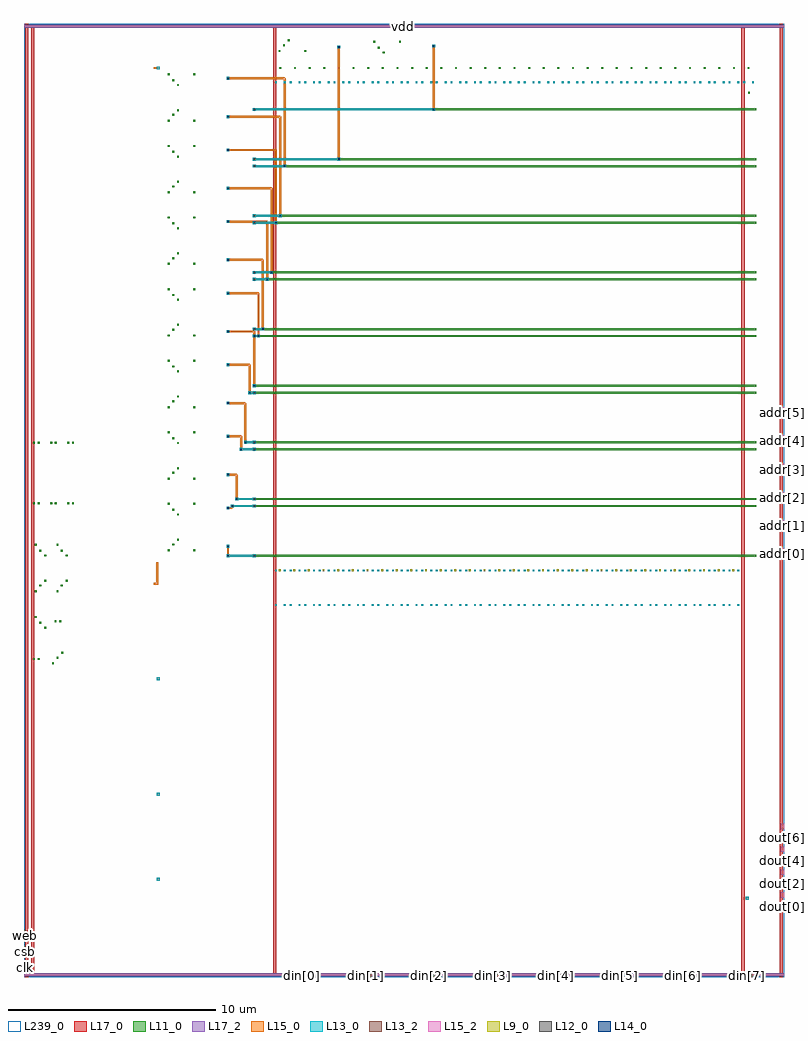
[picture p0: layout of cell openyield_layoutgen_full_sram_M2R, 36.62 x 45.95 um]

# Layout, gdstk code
import gdstk
lib = gdstk.Library(unit=1e-6, precision=5e-10)
def R(c, l, rs):  # rectangles x0, y0, x1, y1
    for r in rs: c.add(gdstk.rectangle(r[:2], r[2:], *l))
def A(c, l, x, y, w, h, nx, ny, dx, dy):  # array of equal rectangles
    R(c, l, [(x+i*dx, y+j*dy, x+i*dx+w, y+j*dy+h) for i in range(nx) for j in range(ny)])
L9_0 = (9, 0)
L11_0 = (11, 0)
L12_0 = (12, 0)
L13_0 = (13, 0)
L13_2 = (13, 2)
L14_0 = (14, 0)
L15_0 = (15, 0)
L15_2 = (15, 2)
L17_0 = (17, 0)
L17_2 = (17, 2)
L239_0 = (239, 0)

openyield_layoutgen_full = lib.new_cell('openyield_layoutgen_full_sram_M2R')
A(openyield_layoutgen_full, L9_0, 12.275, 19.575, 0.09, 0.09, 32, 1, 0.705, 0)
A(openyield_layoutgen_full, L11_0, 12.31, 43.77, 0.09, 0.09, 33, 1, 0.705, 0)
R(openyield_layoutgen_full, L11_0, [(1.3525,15.08,1.4425,15.17), (0.4375,15.29,0.5275,15.38), (0.67,15.29,0.76,15.38), (1.5675,15.36,1.6575,15.45), (1.805,15.5925,1.895,15.6825), (0.9825,16.8025,1.0725,16.8925), (0.745,17.035,0.835,17.125), (1.475,17.105,1.565,17.195), (1.7075,17.105,1.7975,17.195), (0.53,17.315,0.62,17.405), (0.53,18.555,0.62,18.645), (1.5675,18.555,1.6575,18.645), (0.745,18.835,0.835,18.925), (1.7825,18.835,1.8725,18.925), (0.9825,19.0675,1.0725,19.1575), (2.02,19.0675,2.11,19.1575), (11.0325,20.2475,11.1675,20.3825), (11.1,20.27,35.28,20.36), (0.9825,20.2775,1.0725,20.3675), (2.02,20.2775,2.11,20.3675), (0.745,20.51,0.835,20.6), (1.7825,20.51,1.8725,20.6), (6.925,20.53,7.015,20.62), (8.1625,20.53,8.2525,20.62), (9.7625,20.7025,9.8975,20.8375), (9.785,20.725,9.875,20.815), (0.53,20.79,0.62,20.88), (1.5675,20.79,1.6575,20.88), (7.14,20.81,7.23,20.9), (7.3775,21.0425,7.4675,21.1325), (7.3775,22.2525,7.4675,22.3425), (7.14,22.485,7.23,22.575), (9.7625,22.5475,9.8975,22.6825), (9.785,22.57,9.875,22.66), (11.0325,22.6425,11.1675,22.7775), (11.1,22.665,35.28,22.755), (6.925,22.765,7.015,22.855), (8.1625,22.765,8.2525,22.855), (0.4375,22.7925,0.5275,22.8825), (0.67,22.7925,0.76,22.8825), (1.26,22.7925,1.35,22.8825), (1.4925,22.7925,1.5825,22.8825), (2.0825,22.7925,2.1725,22.8825), (2.315,22.7925,2.405,22.8825), (11.0325,22.9775,11.1675,23.1125), (11.1,23,35.28,23.09), (6.925,23.98,7.015,24.07), (8.1625,23.98,8.2525,24.07), (9.7625,24.1525,9.8975,24.2875), (9.785,24.175,9.875,24.265), (7.14,24.26,7.23,24.35), (7.3775,24.4925,7.4675,24.5825), (11.0325,25.3725,11.1675,25.5075), (11.1,25.395,35.28,25.485), (7.3775,25.7025,7.4675,25.7925), (11.0325,25.7075,11.1675,25.8425), (0.4375,25.7125,0.5275,25.8025), (0.67,25.7125,0.76,25.8025), (1.26,25.7125,1.35,25.8025), (1.4925,25.7125,1.5825,25.8025), (2.0825,25.7125,2.1725,25.8025), (2.315,25.7125,2.405,25.8025), (11.1,25.73,35.28,25.82), (7.14,25.935,7.23,26.025), (9.7625,25.9975,9.8975,26.1325), (9.785,26.02,9.875,26.11), (6.925,26.215,7.015,26.305), (8.1625,26.215,8.2525,26.305), (6.925,27.43,7.015,27.52), (8.1625,27.43,8.2525,27.52), (9.7625,27.6025,9.8975,27.7375), (9.785,27.625,9.875,27.715), (7.14,27.71,7.23,27.8), (7.3775,27.9425,7.4675,28.0325), (11.0325,28.1025,11.1675,28.2375), (11.1,28.125,35.28,28.215), (11.0325,28.4375,11.1675,28.5725), (11.1,28.46,35.28,28.55), (7.3775,29.1525,7.4675,29.2425), (7.14,29.385,7.23,29.475), (9.7625,29.4475,9.8975,29.5825), (9.785,29.47,9.875,29.56), (6.925,29.665,7.015,29.755), (8.1625,29.665,8.2525,29.755), (11.0325,30.8325,11.1675,30.9675), (11.1,30.855,35.28,30.945), (6.925,30.88,7.015,30.97), (8.1625,30.88,8.2525,30.97), (9.7625,31.0525,9.8975,31.1875), (9.785,31.075,9.875,31.165), (7.14,31.16,7.23,31.25), (11.0325,31.1675,11.1675,31.3025), (11.1,31.19,35.28,31.28), (7.3775,31.3925,7.4675,31.4825), (7.3775,32.6025,7.4675,32.6925), (7.14,32.835,7.23,32.925), (9.7625,32.8975,9.8975,33.0325), (9.785,32.92,9.875,33.01), (6.925,33.115,7.015,33.205), (8.1625,33.115,8.2525,33.205), (11.0325,33.5625,11.1675,33.6975), (11.1,33.585,35.28,33.675), (11.0325,33.8975,11.1675,34.0325), (11.1,33.92,35.28,34.01), (6.925,34.33,7.015,34.42), (8.1625,34.33,8.2525,34.42), (9.7625,34.5025,9.8975,34.6375), (9.785,34.525,9.875,34.615), (7.14,34.61,7.23,34.7), (7.3775,34.8425,7.4675,34.9325), (7.3775,36.0525,7.4675,36.1425), (7.14,36.285,7.23,36.375), (11.0325,36.2925,11.1675,36.4275), (11.1,36.315,35.28,36.405), (9.7625,36.3475,9.8975,36.4825), (9.785,36.37,9.875,36.46), (6.925,36.565,7.015,36.655), (8.1625,36.565,8.2525,36.655), (11.0325,36.6275,11.1675,36.7625), (11.1,36.65,35.28,36.74), (6.925,37.78,7.015,37.87), (8.1625,37.78,8.2525,37.87), (9.7625,37.9525,9.8975,38.0875), (9.785,37.975,9.875,38.065), (7.14,38.06,7.23,38.15), (7.3775,38.2925,7.4675,38.3825), (11.0325,39.0225,11.1675,39.1575), (11.1,39.045,35.28,39.135), (11.0325,39.3575,11.1675,39.4925), (11.1,39.38,35.28,39.47), (7.3775,39.5025,7.4675,39.5925), (7.14,39.735,7.23,39.825), (9.7625,39.7975,9.8975,39.9325), (9.785,39.82,9.875,39.91), (6.925,40.015,7.015,40.105), (8.1625,40.015,8.2525,40.105), (6.925,41.23,7.015,41.32), (8.1625,41.23,8.2525,41.32), (9.7625,41.4025,9.8975,41.5375), (9.785,41.425,9.875,41.515), (7.14,41.51,7.23,41.6), (7.3775,41.7425,7.4675,41.8325), (11.0325,41.7525,11.1675,41.8875), (11.1,41.775,35.28,41.865), (34.89,42.5725,34.98,42.6625), (7.3775,42.9525,7.4675,43.0425), (7.14,43.185,7.23,43.275), (9.7625,43.2475,9.8975,43.3825), (9.785,43.27,9.875,43.36), (6.925,43.465,7.015,43.555), (8.1625,43.465,8.2525,43.555), (17.2875,44.5175,17.3775,44.6075), (12.2675,44.59,12.3575,44.68), (13.505,44.59,13.595,44.68), (17.05,44.75,17.14,44.84), (15.105,44.7625,15.24,44.8975), (15.1275,44.785,15.2175,44.875), (19.6725,44.8125,19.8075,44.9475), (19.695,44.835,19.785,44.925), (12.4825,44.87,12.5725,44.96), (16.835,45.03,16.925,45.12), (18.0725,45.03,18.1625,45.12), (12.72,45.1025,12.81,45.1925)])
R(openyield_layoutgen_full, L12_0, [(11.0675,20.2825,11.1325,20.3475), (9.7975,20.7375,9.8625,20.8025), (9.7975,22.5825,9.8625,22.6475), (11.0675,22.6775,11.1325,22.7425), (11.0675,23.0125,11.1325,23.0775), (9.7975,24.1875,9.8625,24.2525), (11.0675,25.4075,11.1325,25.4725), (11.0675,25.7425,11.1325,25.8075), (9.7975,26.0325,9.8625,26.0975), (9.7975,27.6375,9.8625,27.7025), (11.0675,28.1375,11.1325,28.2025), (11.0675,28.4725,11.1325,28.5375), (9.7975,29.4825,9.8625,29.5475), (11.0675,30.8675,11.1325,30.9325), (9.7975,31.0875,9.8625,31.1525), (11.0675,31.2025,11.1325,31.2675), (9.7975,32.9325,9.8625,32.9975), (11.0675,33.5975,11.1325,33.6625), (11.0675,33.9325,11.1325,33.9975), (9.7975,34.5375,9.8625,34.6025), (11.0675,36.3275,11.1325,36.3925), (9.7975,36.3825,9.8625,36.4475), (11.0675,36.6625,11.1325,36.7275), (9.7975,37.9875,9.8625,38.0525), (11.0675,39.0575,11.1325,39.1225), (11.0675,39.3925,11.1325,39.4575), (9.7975,39.8325,9.8625,39.8975), (9.7975,41.4375,9.8625,41.5025), (11.0675,41.7875,11.1325,41.8525), (9.7975,43.2825,9.8625,43.3475), (15.14,44.7975,15.205,44.8625), (19.7075,44.8475,19.7725,44.9125)])
A(openyield_layoutgen_full, L13_0, 13.18, 0, 0.5, 0.16, 8, 1, 3.06, 0)
A(openyield_layoutgen_full, L13_0, 0, 0.2425, 0.16, 0.5, 1, 3, 0, 0.75)
A(openyield_layoutgen_full, L13_0, 0.16, 0.4575, 0.1825, 0.07, 1, 3, 0, 0.75)
R(openyield_layoutgen_full, L13_0, [(34.7825,3.74,34.9175,3.875), (6.395,4.6525,6.53,4.7875), (6.395,8.7575,6.53,8.8925), (6.395,14.325,6.53,14.46), (12.0975,17.8975,12.1875,17.9875), (12.5225,17.8975,12.6125,17.9875), (12.8025,17.8975,12.8925,17.9875), (13.2275,17.8975,13.3175,17.9875), (13.5075,17.8975,13.5975,17.9875), (13.9325,17.8975,14.0225,17.9875), (14.2125,17.8975,14.3025,17.9875), (14.6375,17.8975,14.7275,17.9875), (14.9175,17.8975,15.0075,17.9875), (15.3425,17.8975,15.4325,17.9875), (15.6225,17.8975,15.7125,17.9875), (16.0475,17.8975,16.1375,17.9875), (16.3275,17.8975,16.4175,17.9875), (16.7525,17.8975,16.8425,17.9875), (17.0325,17.8975,17.1225,17.9875), (17.4575,17.8975,17.5475,17.9875), (17.7375,17.8975,17.8275,17.9875), (18.1625,17.8975,18.2525,17.9875), (18.4425,17.8975,18.5325,17.9875), (18.8675,17.8975,18.9575,17.9875), (19.1475,17.8975,19.2375,17.9875), (19.5725,17.8975,19.6625,17.9875), (19.8525,17.8975,19.9425,17.9875), (20.2775,17.8975,20.3675,17.9875), (20.5575,17.8975,20.6475,17.9875), (20.9825,17.8975,21.0725,17.9875), (21.2625,17.8975,21.3525,17.9875), (21.6875,17.8975,21.7775,17.9875), (21.9675,17.8975,22.0575,17.9875), (22.3925,17.8975,22.4825,17.9875), (22.6725,17.8975,22.7625,17.9875), (23.0975,17.8975,23.1875,17.9875), (23.3775,17.8975,23.4675,17.9875), (23.8025,17.8975,23.8925,17.9875), (24.0825,17.8975,24.1725,17.9875), (24.5075,17.8975,24.5975,17.9875), (24.7875,17.8975,24.8775,17.9875), (25.2125,17.8975,25.3025,17.9875), (25.4925,17.8975,25.5825,17.9875), (25.9175,17.8975,26.0075,17.9875), (26.1975,17.8975,26.2875,17.9875), (26.6225,17.8975,26.7125,17.9875), (26.9025,17.8975,26.9925,17.9875), (27.3275,17.8975,27.4175,17.9875), (27.6075,17.8975,27.6975,17.9875), (28.0325,17.8975,28.1225,17.9875), (28.3125,17.8975,28.4025,17.9875), (28.7375,17.8975,28.8275,17.9875), (29.0175,17.8975,29.1075,17.9875), (29.4425,17.8975,29.5325,17.9875), (29.7225,17.8975,29.8125,17.9875), (30.1475,17.8975,30.2375,17.9875), (30.4275,17.8975,30.5175,17.9875), (30.8525,17.8975,30.9425,17.9875), (31.1325,17.8975,31.2225,17.9875), (31.5575,17.8975,31.6475,17.9875), (31.8375,17.8975,31.9275,17.9875), (32.2625,17.8975,32.3525,17.9875), (32.5425,17.8975,32.6325,17.9875), (32.9675,17.8975,33.0575,17.9875), (33.2475,17.8975,33.3375,17.9875), (33.6725,17.8975,33.7625,17.9875), (33.9525,17.8975,34.0425,17.9875), (34.3775,17.8975,34.4675,17.9875), (12.0975,19.5575,12.1875,19.6475), (12.5225,19.5575,12.6125,19.6475), (12.8025,19.5575,12.8925,19.6475), (13.2275,19.5575,13.3175,19.6475), (13.5075,19.5575,13.5975,19.6475), (13.9325,19.5575,14.0225,19.6475), (14.2125,19.5575,14.3025,19.6475), (14.6375,19.5575,14.7275,19.6475), (14.9175,19.5575,15.0075,19.6475), (15.3425,19.5575,15.4325,19.6475), (15.6225,19.5575,15.7125,19.6475), (16.0475,19.5575,16.1375,19.6475), (16.3275,19.5575,16.4175,19.6475), (16.7525,19.5575,16.8425,19.6475), (17.0325,19.5575,17.1225,19.6475), (17.4575,19.5575,17.5475,19.6475), (17.7375,19.5575,17.8275,19.6475), (18.1625,19.5575,18.2525,19.6475), (18.4425,19.5575,18.5325,19.6475), (18.8675,19.5575,18.9575,19.6475), (19.1475,19.5575,19.2375,19.6475), (19.5725,19.5575,19.6625,19.6475), (19.8525,19.5575,19.9425,19.6475), (20.2775,19.5575,20.3675,19.6475), (20.5575,19.5575,20.6475,19.6475), (20.9825,19.5575,21.0725,19.6475), (21.2625,19.5575,21.3525,19.6475), (21.6875,19.5575,21.7775,19.6475), (21.9675,19.5575,22.0575,19.6475), (22.3925,19.5575,22.4825,19.6475), (22.6725,19.5575,22.7625,19.6475), (23.0975,19.5575,23.1875,19.6475), (23.3775,19.5575,23.4675,19.6475), (23.8025,19.5575,23.8925,19.6475), (24.0825,19.5575,24.1725,19.6475), (24.5075,19.5575,24.5975,19.6475), (24.7875,19.5575,24.8775,19.6475), (25.2125,19.5575,25.3025,19.6475), (25.4925,19.5575,25.5825,19.6475), (25.9175,19.5575,26.0075,19.6475), (26.1975,19.5575,26.2875,19.6475), (26.6225,19.5575,26.7125,19.6475), (26.9025,19.5575,26.9925,19.6475), (27.3275,19.5575,27.4175,19.6475), (27.6075,19.5575,27.6975,19.6475), (28.0325,19.5575,28.1225,19.6475), (28.3125,19.5575,28.4025,19.6475), (28.7375,19.5575,28.8275,19.6475), (29.0175,19.5575,29.1075,19.6475), (29.4425,19.5575,29.5325,19.6475), (29.7225,19.5575,29.8125,19.6475), (30.1475,19.5575,30.2375,19.6475), (30.4275,19.5575,30.5175,19.6475), (30.8525,19.5575,30.9425,19.6475), (31.1325,19.5575,31.2225,19.6475), (31.5575,19.5575,31.6475,19.6475), (31.8375,19.5575,31.9275,19.6475), (32.2625,19.5575,32.3525,19.6475), (32.5425,19.5575,32.6325,19.6475), (32.9675,19.5575,33.0575,19.6475), (33.2475,19.5575,33.3375,19.6475), (33.6725,19.5575,33.7625,19.6475), (33.9525,19.5575,34.0425,19.6475), (34.3775,19.5575,34.4675,19.6475), (9.7625,20.2475,9.8975,20.3825), (11.0325,20.2475,11.1675,20.3825), (9.83,20.27,11.1,20.36), (9.7625,20.7025,9.8975,20.8375), (9.7625,22.5475,9.8975,22.6825), (9.9725,22.6425,10.1075,22.7775), (11.0325,22.6425,11.1675,22.7775), (10.04,22.665,11.1,22.755), (10.1825,22.9775,10.3175,23.1125), (11.0325,22.9775,11.1675,23.1125), (10.25,23,11.1,23.09), (9.7625,24.1525,9.8975,24.2875), (10.3925,25.3725,10.5275,25.5075), (11.0325,25.3725,11.1675,25.5075), (10.46,25.395,11.1,25.485), (10.6025,25.7075,10.7375,25.8425), (11.0325,25.7075,11.1675,25.8425), (10.67,25.73,11.1,25.82), (9.7625,25.9975,9.8975,26.1325), (9.7625,27.6025,9.8975,27.7375), (10.8125,28.1025,10.9475,28.2375), (11.0325,28.1025,11.1675,28.2375), (10.88,28.125,11.1,28.215), (11.0225,28.4375,11.1675,28.5725), (11.05,28.46,11.14,28.55), (9.7625,29.4475,9.8975,29.5825), (11.0325,30.8325,11.1675,30.9675), (11.2325,30.8325,11.3675,30.9675), (11.1,30.855,11.3,30.945), (9.7625,31.0525,9.8975,31.1875), (11.0325,31.1675,11.1675,31.3025), (11.4425,31.1675,11.5775,31.3025), (11.1,31.19,11.51,31.28), (9.7625,32.8975,9.8975,33.0325), (11.0325,33.5625,11.1675,33.6975), (11.6525,33.5625,11.7875,33.6975), (11.1,33.585,11.72,33.675), (11.0325,33.8975,11.1675,34.0325), (11.8625,33.8975,11.9975,34.0325), (11.1,33.92,11.93,34.01), (9.7625,34.5025,9.8975,34.6375), (11.0325,36.2925,11.1675,36.4275), (12.0725,36.2925,12.2075,36.4275), (11.1,36.315,12.14,36.405), (9.7625,36.3475,9.8975,36.4825), (11.0325,36.6275,11.1675,36.7625), (12.2825,36.6275,12.4175,36.7625), (11.1,36.65,12.35,36.74), (9.7625,37.9525,9.8975,38.0875), (11.0325,39.0225,11.1675,39.1575), (12.4925,39.0225,12.6275,39.1575), (11.1,39.045,12.56,39.135), (11.0325,39.3575,11.1675,39.4925), (15.105,39.3575,15.24,39.4925), (11.1,39.38,15.1725,39.47), (9.7625,39.7975,9.8975,39.9325), (9.7625,41.4025,9.8975,41.5375), (11.0325,41.7525,11.1675,41.8875), (19.6725,41.7525,19.8075,41.8875), (11.1,41.775,19.74,41.865), (12.0975,43.0875,12.1875,43.1775), (12.5225,43.0875,12.6125,43.1775), (12.8025,43.0875,12.8925,43.1775), (13.2275,43.0875,13.3175,43.1775), (13.5075,43.0875,13.5975,43.1775), (13.9325,43.0875,14.0225,43.1775), (14.2125,43.0875,14.3025,43.1775), (14.6375,43.0875,14.7275,43.1775), (14.9175,43.0875,15.0075,43.1775), (15.3425,43.0875,15.4325,43.1775), (15.6225,43.0875,15.7125,43.1775), (16.0475,43.0875,16.1375,43.1775), (16.3275,43.0875,16.4175,43.1775), (16.7525,43.0875,16.8425,43.1775), (17.0325,43.0875,17.1225,43.1775), (17.4575,43.0875,17.5475,43.1775), (17.7375,43.0875,17.8275,43.1775), (18.1625,43.0875,18.2525,43.1775), (18.4425,43.0875,18.5325,43.1775), (18.8675,43.0875,18.9575,43.1775), (19.1475,43.0875,19.2375,43.1775), (19.5725,43.0875,19.6625,43.1775), (19.8525,43.0875,19.9425,43.1775), (20.2775,43.0875,20.3675,43.1775), (20.5575,43.0875,20.6475,43.1775), (20.9825,43.0875,21.0725,43.1775), (21.2625,43.0875,21.3525,43.1775), (21.6875,43.0875,21.7775,43.1775), (21.9675,43.0875,22.0575,43.1775), (22.3925,43.0875,22.4825,43.1775), (22.6725,43.0875,22.7625,43.1775), (23.0975,43.0875,23.1875,43.1775), (23.3775,43.0875,23.4675,43.1775), (23.8025,43.0875,23.8925,43.1775), (24.0825,43.0875,24.1725,43.1775), (24.5075,43.0875,24.5975,43.1775), (24.7875,43.0875,24.8775,43.1775), (25.2125,43.0875,25.3025,43.1775), (25.4925,43.0875,25.5825,43.1775), (25.9175,43.0875,26.0075,43.1775), (26.1975,43.0875,26.2875,43.1775), (26.6225,43.0875,26.7125,43.1775), (26.9025,43.0875,26.9925,43.1775), (27.3275,43.0875,27.4175,43.1775), (27.6075,43.0875,27.6975,43.1775), (28.0325,43.0875,28.1225,43.1775), (28.3125,43.0875,28.4025,43.1775), (28.7375,43.0875,28.8275,43.1775), (29.0175,43.0875,29.1075,43.1775), (29.4425,43.0875,29.5325,43.1775), (29.7225,43.0875,29.8125,43.1775), (30.1475,43.0875,30.2375,43.1775), (30.4275,43.0875,30.5175,43.1775), (30.8525,43.0875,30.9425,43.1775), (31.1325,43.0875,31.2225,43.1775), (31.5575,43.0875,31.6475,43.1775), (31.8375,43.0875,31.9275,43.1775), (32.2625,43.0875,32.3525,43.1775), (32.5425,43.0875,32.6325,43.1775), (32.9675,43.0875,33.0575,43.1775), (33.2475,43.0875,33.3375,43.1775), (33.6725,43.0875,33.7625,43.1775), (33.9525,43.0875,34.0425,43.1775), (34.3775,43.0875,34.4675,43.1775), (34.6575,43.0875,34.7475,43.1775), (35.0825,43.0875,35.1725,43.1775), (9.7625,43.2475,9.8975,43.3825), (6.395,43.7475,6.53,43.8825), (15.105,44.7625,15.24,44.8975), (19.6725,44.8125,19.8075,44.9475)])
A(openyield_layoutgen_full, L13_2, 13.18, 0, 0.5, 0.16, 8, 1, 3.06, 0)
A(openyield_layoutgen_full, L13_2, 0, 0.2425, 0.16, 0.5, 1, 3, 0, 0.75)
R(openyield_layoutgen_full, L14_0, [(9.7975,20.2825,9.8625,20.3475), (9.7975,20.7375,9.8625,20.8025), (9.7975,22.5825,9.8625,22.6475), (10.0075,22.6775,10.0725,22.7425), (10.2175,23.0125,10.2825,23.0775), (9.7975,24.1875,9.8625,24.2525), (10.4275,25.4075,10.4925,25.4725), (10.6375,25.7425,10.7025,25.8075), (9.7975,26.0325,9.8625,26.0975), (9.7975,27.6375,9.8625,27.7025), (10.8475,28.1375,10.9125,28.2025), (11.0575,28.4725,11.1225,28.5375), (9.7975,29.4825,9.8625,29.5475), (11.2675,30.8675,11.3325,30.9325), (9.7975,31.0875,9.8625,31.1525), (11.4775,31.2025,11.5425,31.2675), (9.7975,32.9325,9.8625,32.9975), (11.6875,33.5975,11.7525,33.6625), (11.8975,33.9325,11.9625,33.9975), (9.7975,34.5375,9.8625,34.6025), (12.1075,36.3275,12.1725,36.3925), (9.7975,36.3825,9.8625,36.4475), (12.3175,36.6625,12.3825,36.7275), (9.7975,37.9875,9.8625,38.0525), (12.5275,39.0575,12.5925,39.1225), (15.14,39.3925,15.205,39.4575), (9.7975,39.8325,9.8625,39.8975), (9.7975,41.4375,9.8625,41.5025), (19.7075,41.7875,19.7725,41.8525), (9.7975,43.2825,9.8625,43.3475), (15.14,44.7975,15.205,44.8625), (19.7075,44.8475,19.7725,44.9125)])
A(openyield_layoutgen_full, L15_0, 36.4625, 3.2875, 0.16, 0.25, 1, 8, 0, 0.55)
A(openyield_layoutgen_full, L15_0, 36.4625, 20.1475, 0.16, 0.5, 1, 6, 0, 1.365)
R(openyield_layoutgen_full, L15_0, [(34.7825,3.74,34.9175,3.875), (6.395,4.6525,6.53,4.7875), (6.395,8.7575,6.53,8.8925), (6.395,14.325,6.53,14.46), (6.2625,18.925,6.4575,19.015), (6.3675,18.925,6.4575,19.9925), (9.7625,20.2475,9.8975,20.3825), (9.785,20.315,9.875,20.77), (9.7625,20.7025,9.8975,20.8375), (9.7625,22.5475,9.8975,22.6825), (9.83,22.57,10.04,22.66), (9.995,22.615,10.085,22.71), (9.9725,22.6425,10.1075,22.7775), (10.1825,22.9775,10.3175,23.1125), (10.205,23.045,10.295,24.22), (9.7625,24.1525,9.8975,24.2875), (9.83,24.175,10.25,24.265), (10.3925,25.3725,10.5275,25.5075), (10.415,25.44,10.505,26.065), (10.6025,25.7075,10.7375,25.8425), (10.625,25.775,10.715,27.67), (9.7625,25.9975,9.8975,26.1325), (9.83,26.02,10.46,26.11), (9.7625,27.6025,9.8975,27.7375), (9.83,27.625,10.67,27.715), (10.8125,28.1025,10.9475,28.2375), (10.835,28.17,10.925,29.515), (11.0225,28.4375,11.1575,28.5725), (11.045,28.505,11.135,31.12), (9.7625,29.4475,9.8975,29.5825), (9.83,29.47,10.88,29.56), (11.2325,30.8325,11.3675,30.9675), (11.255,30.9,11.345,32.965), (9.7625,31.0525,9.8975,31.1875), (9.83,31.075,11.09,31.165), (11.4425,31.1675,11.5775,31.3025), (11.465,31.235,11.555,34.57), (9.7625,32.8975,9.8975,33.0325), (9.83,32.92,11.3,33.01), (11.6525,33.5625,11.7875,33.6975), (11.675,33.63,11.765,36.415), (11.8625,33.8975,11.9975,34.0325), (11.885,33.965,11.975,38.02), (9.7625,34.5025,9.8975,34.6375), (9.83,34.525,11.51,34.615), (12.0725,36.2925,12.2075,36.4275), (9.7625,36.3475,9.8975,36.4825), (12.095,36.36,12.185,39.865), (9.83,36.37,11.72,36.46), (12.2825,36.6275,12.4175,36.7625), (12.305,36.695,12.395,41.47), (9.7625,37.9525,9.8975,38.0875), (9.83,37.975,11.93,38.065), (12.4925,39.0225,12.6275,39.1575), (12.515,39.09,12.605,43.315), (15.105,39.3575,15.24,39.4925), (15.1275,39.425,15.2175,44.875), (9.7625,39.7975,9.8975,39.9325), (9.83,39.82,12.14,39.91), (9.7625,41.4025,9.8975,41.5375), (9.83,41.425,12.35,41.515), (19.6725,41.7525,19.8075,41.8875), (19.695,41.82,19.785,44.88), (9.7625,43.2475,9.8975,43.3825), (9.83,43.27,12.56,43.36), (6.395,43.7475,6.53,43.8825), (6.2625,43.77,6.4625,43.86), (15.105,44.7625,15.24,44.8975), (19.6725,44.8125,19.8075,44.9475)])
A(openyield_layoutgen_full, L15_2, 36.4625, 3.2875, 0.16, 0.25, 1, 8, 0, 0.55)
A(openyield_layoutgen_full, L15_2, 36.4625, 20.1475, 0.16, 0.5, 1, 6, 0, 1.365)
R(openyield_layoutgen_full, L17_0, [(0.05,0,0.2,45.95), (36.4225,0,36.5725,45.95), (0,0.05,36.6225,0.2), (0.3425,0.2,0.5025,45.75), (12,0.2,12.16,45.75), (34.56,0.2,34.72,45.75), (0,45.75,36.6225,45.9)])
R(openyield_layoutgen_full, L17_2, [(0,0.05,36.6225,0.2), (0,45.75,36.6225,45.9)])
R(openyield_layoutgen_full, L239_0, [(0,0,36.6225,45.95)])
openyield_layoutgen_full.add(gdstk.Label('clk', (0.08,0.4925), layer=13, texttype=1))
openyield_layoutgen_full.add(gdstk.Label('csb', (0.08,1.2425), layer=13, texttype=1))
openyield_layoutgen_full.add(gdstk.Label('web', (0.08,1.9925), layer=13, texttype=1))
openyield_layoutgen_full.add(gdstk.Label('addr[0]', (36.5425,20.3975), layer=15, texttype=1))
openyield_layoutgen_full.add(gdstk.Label('addr[1]', (36.5425,21.7625), layer=15, texttype=1))
openyield_layoutgen_full.add(gdstk.Label('addr[2]', (36.5425,23.1275), layer=15, texttype=1))
openyield_layoutgen_full.add(gdstk.Label('addr[3]', (36.5425,24.4925), layer=15, texttype=1))
openyield_layoutgen_full.add(gdstk.Label('addr[4]', (36.5425,25.8575), layer=15, texttype=1))
openyield_layoutgen_full.add(gdstk.Label('addr[5]', (36.5425,27.2225), layer=15, texttype=1))
openyield_layoutgen_full.add(gdstk.Label('din[0]', (13.43,0.08), layer=13, texttype=1))
openyield_layoutgen_full.add(gdstk.Label('dout[0]', (36.5425,3.4125), layer=15, texttype=1))
openyield_layoutgen_full.add(gdstk.Label('din[1]', (16.49,0.08), layer=13, texttype=1))
openyield_layoutgen_full.add(gdstk.Label('dout[1]', (36.5425,3.9625), layer=15, texttype=1))
openyield_layoutgen_full.add(gdstk.Label('din[2]', (19.55,0.08), layer=13, texttype=1))
openyield_layoutgen_full.add(gdstk.Label('dout[2]', (36.5425,4.5125), layer=15, texttype=1))
openyield_layoutgen_full.add(gdstk.Label('din[3]', (22.61,0.08), layer=13, texttype=1))
openyield_layoutgen_full.add(gdstk.Label('dout[3]', (36.5425,5.0625), layer=15, texttype=1))
openyield_layoutgen_full.add(gdstk.Label('din[4]', (25.67,0.08), layer=13, texttype=1))
openyield_layoutgen_full.add(gdstk.Label('dout[4]', (36.5425,5.6125), layer=15, texttype=1))
openyield_layoutgen_full.add(gdstk.Label('din[5]', (28.73,0.08), layer=13, texttype=1))
openyield_layoutgen_full.add(gdstk.Label('dout[5]', (36.5425,6.1625), layer=15, texttype=1))
openyield_layoutgen_full.add(gdstk.Label('din[6]', (31.79,0.08), layer=13, texttype=1))
openyield_layoutgen_full.add(gdstk.Label('dout[6]', (36.5425,6.7125), layer=15, texttype=1))
openyield_layoutgen_full.add(gdstk.Label('din[7]', (34.85,0.08), layer=13, texttype=1))
openyield_layoutgen_full.add(gdstk.Label('dout[7]', (36.5425,7.2625), layer=15, texttype=1))
openyield_layoutgen_full.add(gdstk.Label('vdd', (18.31,45.825), layer=17, texttype=1))
openyield_layoutgen_full.add(gdstk.Label('gnd', (18.31,0.125), layer=17, texttype=1))

lib.write_gds('openyield_layoutgen_full_sram_M2R.gds')
